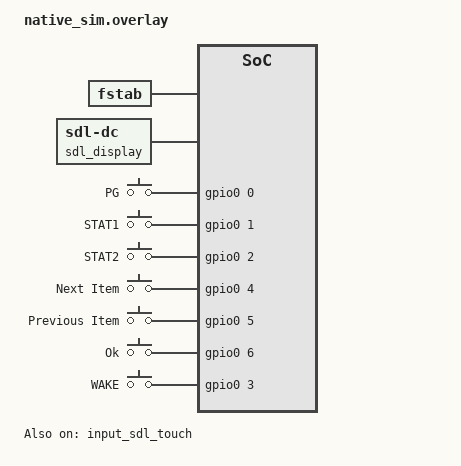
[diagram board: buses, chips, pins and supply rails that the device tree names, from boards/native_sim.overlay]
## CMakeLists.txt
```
cmake_minimum_required(VERSION 3.20.0)
find_package(Zephyr REQUIRED HINTS $ENV{ZEPHYR_BASE})
project(smartwatch_v1)
set(CMAKE_EXPORT_COMPILE_COMMANDS ON)

FILE(GLOB root_sources src/*.c)
message(STATUS root_sources : ${root_sources})

include_directories(${CMAKE_SOURCE_DIR}/src)
add_subdirectory(src/ui)
add_subdirectory(src/applications)
add_subdirectory(src/managers)
add_subdirectory(src/threads)
add_subdirectory(src/HAL)
add_subdirectory(src/BLE)
add_subdirectory(src/runtime_management)

target_sources(app PRIVATE ${root_sources})
```

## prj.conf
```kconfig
# sets up displays
CONFIG_DISPLAY=y
CONFIG_INPUT=y
CONFIG_INPUT_LONGPRESS=y
CONFIG_MAIN_STACK_SIZE=4096

#GPIO
CONFIG_GPIO=y

#Logging
CONFIG_LOG=y
CONFIG_LOG_DEFAULT_LEVEL=3

#Power Management
#CONFIG_PM=y
#CONFIG_PM_DEVICE=y
#CONFIG_PM_DEVICE_RUNTIME=y

#Shell
#CONFIG_SHELL=y
#CONFIG_LV_Z_SHELL=y
#CONFIG_KERNEL_SHELL=y
#CONFIG_SYS_HEAP_RUNTIME_STATS=y

# LVGL configuration

CONFIG_LVGL=y
CONFIG_LV_Z_VDB_SIZE=50
CONFIG_LV_Z_FULL_REFRESH=n
CONFIG_LV_Z_DOUBLE_VDB=y
CONFIG_LV_Z_BITS_PER_PIXEL=16
CONFIG_LV_Z_FLUSH_THREAD=n
CONFIG_LV_FONT_MONTSERRAT_10=y
CONFIG_LV_FONT_MONTSERRAT_14=y
CONFIG_LV_FONT_MONTSERRAT_24=y
CONFIG_LV_USE_GRIDNAV=y
CONFIG_LV_Z_MEM_POOL_SIZE=32768

#BLE
CONFIG_BT=y
#CONFIG_BT_SMP=y
CONFIG_BT_PERIPHERAL=y
CONFIG_BT_GATT_CLIENT=y
CONFIG_BT_DEVICE_NAME="MIN_WATCH"
CONFIG_BT_L2CAP_TX_MTU=247
CONFIG_BT_BUF_ACL_RX_SIZE=251
# BLE buffers
CONFIG_BT_L2CAP_TX_BUF_COUNT=10
CONFIG_BT_BUF_ACL_RX_COUNT_EXTRA=10
#CONFIG_BT_SMP_SC_ONLY=n
#CONFIG_BT_SMP_APP_PAIRING_ACCEPT=n
#CONFIG_BT_APP_PASSKEY=y
#CONFIG_BT_SETTINGS=y

# File System Support
#CONFIG_FILE_SYSTEM=y
#CONFIG_FILE_SYSTEM_LITTLEFS=y
CONFIG_FLASH=y
CONFIG_FLASH_MAP=y
CONFIG_FILE_SYSTEM=y
CONFIG_FILE_SYSTEM_LITTLEFS=y

#LIBC
CONFIG_PICOLIBC=y
CONFIG_COMMON_LIBC_MALLOC_ARENA_SIZE=2048
```

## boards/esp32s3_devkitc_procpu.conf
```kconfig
CONFIG_ST7735R=y
CONFIG_LV_USE_ST7735=y

CONFIG_LV_COLOR_16_SWAP=y
CONFIG_INPUT_GPIO_QDEC=y

CONFIG_SERIAL=y
CONFIG_CONSOLE=y
CONFIG_UART_CONSOLE=y
CONFIG_USB_DEVICE_STACK=n
CONFIG_USB_CDC_ACM=n

CONFIG_BOOTLOADER_MCUBOOT=y
CONFIG_MCUBOOT_GENERATE_UNSIGNED_IMAGE=y
CONFIG_BOOT_BANNER=y

CONFIG_ESPTOOLPY_FLASHMODE_DIO=y
CONFIG_ESPTOOLPY_FLASHMODE_QIO=n

CONFIG_ESPTOOLPY_FLASHFREQ_40M=y
CONFIG_ESPTOOLPY_FLASHFREQ_80M=n

CONFIG_LOG=y
CONFIG_LOG_DEFAULT_LEVEL=3
CONFIG_EXCEPTION_STACK_TRACE=y
```

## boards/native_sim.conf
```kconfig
CONFIG_SRAM_SIZE=520

# Core SDL and Graphics Support
CONFIG_SDL_DISPLAY=y
CONFIG_INPUT_SDL_TOUCH=y

# Input Support
CONFIG_GPIO_EMUL=y
CONFIG_GPIO_EMUL_SDL=y

CONFIG_FLASH_SIMULATOR=y

CONFIG_THREAD_NAME=y
CONFIG_THREAD_RUNTIME_STATS=y

# Enable the full analyzer and command it to print itself
CONFIG_THREAD_ANALYZER=y
CONFIG_THREAD_ANALYZER_USE_LOG=y
CONFIG_THREAD_ANALYZER_AUTO=y
CONFIG_THREAD_ANALYZER_AUTO_INTERVAL=5
```

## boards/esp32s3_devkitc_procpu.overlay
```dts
#include <zephyr/dt-bindings/input/input-event-codes.h>
#include <zephyr/dt-bindings/lvgl/lvgl.h>
#include <zephyr/dt-bindings/gpio/gpio.h>
#include <zephyr/dt-bindings/mipi_dbi/mipi_dbi.h>

/ {
    chosen {
        zephyr,display = &st7735r_display;
        zephyr,console = &uart0;
        zephyr,shell-uart = &uart0;
    };

    /* System Status Inputs */
    gpio_pins: gpio_pins {
        compatible = "gpio-keys";

        gpio_pg: gpio_pg {
            status = "disabled";
            gpios = <&gpio0 40 (GPIO_PULL_UP | GPIO_ACTIVE_LOW)>;
            label = "PG";
            zephyr,code = <INPUT_KEY_0>;
        };
 
        gpio_wakeup: gpio_wakeup {
            status = "disabled";
            gpios = <&gpio0 41 (GPIO_PULL_UP | GPIO_ACTIVE_LOW)>;
            label = "WAKEUP";
            zephyr,code = <INPUT_KEY_1>;
        };

        gpio_lbo: gpio_lbo {
            status = "disabled";
            gpios = <&gpio0 42 (GPIO_PULL_UP | GPIO_ACTIVE_LOW)>;
            label = "LBO";
            zephyr,code = <INPUT_KEY_2>;
        };
        
        key_ok: key_ok {
            status = "okay";
            gpios = <&gpio0 5 (GPIO_PULL_UP | GPIO_ACTIVE_LOW)>;
            label = "Encoder Switch";
            zephyr,code = <INPUT_KEY_4>;
        };
    };

    key_back: key_back {
        compatible = "zephyr,input-longpress";
        input = <&gpio_pins>;
        input-codes = <INPUT_KEY_4>; 
        short-codes = <INPUT_KEY_ENTER>;
        long-codes = <INPUT_KEY_ESC>;
        long-delay-ms = <500>;
    };

    encoder: encoder {
        status = "okay";
        compatible = "gpio-qdec";
        /* A and B GPIOs */
        gpios = <&gpio0 4 (GPIO_PULL_UP | GPIO_ACTIVE_LOW)>, 
                <&gpio0 6 (GPIO_PULL_UP | GPIO_ACTIVE_LOW)>;
        steps-per-period = <4>;
        zephyr,axis = <INPUT_REL_WHEEL>;
        sample-time-us = <2000>;
        idle-timeout-ms = <200>;
    };

    /* DBI Bridge: Connects SPI to the Display Driver */
    mipi_dbi_st7735r: mipi_dbi_st7735r {
        compatible = "zephyr,mipi-dbi-spi";
        spi-dev = <&spi2>;
        dc-gpios = <&gpio0 10 GPIO_ACTIVE_HIGH>;
        reset-gpios = <&gpio0 9 GPIO_ACTIVE_LOW>;
        #address-cells = <1>;
        #size-cells = <0>;

        st7735r_display: st7735r@0 {
            compatible = "sitronix,st7735r";
            reg = <0>;
            mipi-max-frequency = <16000000>;
            mipi-mode = "MIPI_DBI_MODE_SPI_4WIRE";
            width = <128>;
            height = <160>;
            x-offset = <0>;
            y-offset = <0>;
            
            colmod = <0x05>;
            madctl = <0xC8>;
            pwctr1 = [a2 02 84];
            pwctr2 = [c5];
            pwctr3 = [0a 00];
            pwctr4 = [8a 2a];
            pwctr5 = [8a ee];
            frmctr1 = [01 2c 2d];
            frmctr2 = [01 2c 2d];
            frmctr3 = [01 2c 2d 01 2c 2d];
            gamctrp1 = [02 1c 07 12 37 32 29 2d 29 25 2b 39 00 01 03 10];
            gamctrn1 = [03 1d 07 06 2e 2c 29 2d 2e 2e 37 3f 00 00 02 10];
        };
    };
};

/* SPI Bus for ST7735R */
&spi2 {
    status = "okay";
    pinctrl-0 = <&spim2_default>;
    pinctrl-names = "default";
    cs-gpios = <&gpio0 13 GPIO_ACTIVE_LOW>; 
};

&pinctrl {
    spim2_default: spim2_default {
        group1 {
            pinmux = <SPIM2_MOSI_GPIO11>,
                     <SPIM2_SCLK_GPIO12>;
        };
    };
};

&usb_serial {
    status = "okay";
};
```

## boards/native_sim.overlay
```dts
#include <zephyr/dt-bindings/input/input-event-codes.h>
#include <zephyr/dt-bindings/lvgl/lvgl.h>

/ {
    chosen {
        zephyr,display = &sdl_display;
    };

    fstab {
        compatible = "zephyr,fstab";
        lfs1: lfs1 {
            compatible = "zephyr,fstab,littlefs";
            mount-point = "/lfs";
            partition = <&storage_partition>;
            automount;
            read-size = <16>;
            prog-size = <16>;
            cache-size = <64>;
            lookahead-size = <32>;
            block-cycles = <512>;
        };
    };

    sdl_display: sdl_display {
        compatible = "zephyr,sdl-dc";
        width = <128>;
        height = <160>;
    };

    /* Application-level gpio pin definitions */
    gpio_pins: gpio_pins {
        compatible = "gpio-keys";
        gpio_pg: gpio_pg {
            gpios = <&gpio0 0 GPIO_ACTIVE_HIGH>;
            label = "PG";
            zephyr,code = <INPUT_KEY_0>;
        };
        gpio_stat1: gpio_stat1 {
            gpios = <&gpio0 1 GPIO_ACTIVE_HIGH>;
            label = "STAT1";
            zephyr,code = <INPUT_KEY_1>;
        };
        gpio_stat2: gpio_stat2 {
            gpios = <&gpio0 2 GPIO_ACTIVE_HIGH>;
            label = "STAT2";
            zephyr,code = <INPUT_KEY_2>;
        };
        key_prev: key_prev {
            gpios = <&gpio0 4  GPIO_ACTIVE_HIGH>;
            label = "Next Item";
            zephyr,code = <INPUT_KEY_LEFT>; 
        };
        key_next: key_next {
            gpios = <&gpio0 5  GPIO_ACTIVE_HIGH>;
            label = "Previous Item";
            zephyr,code = <INPUT_KEY_RIGHT>;
        };
        key_ok: key_ok {
            gpios = <&gpio0 6 GPIO_ACTIVE_HIGH>;
            label = "Ok";
            zephyr,code = <INPUT_KEY_4>;
        };
    };

    
    key_back: key_back {
        compatible = "zephyr,input-longpress";
        input = <&gpio_pins>;
        input-codes = <INPUT_KEY_4>; 
        short-codes = <INPUT_KEY_ENTER>;
        long-codes = <INPUT_KEY_ESC>;
        long-delay-ms = <500>;
    };
    
    switches: switches {
        compatible = "gpio-keys";
        debounce-interval-ms = <200>;
        gpio_wakeup: gpio_wakeup {
            gpios = <&gpio0 3 GPIO_ACTIVE_HIGH>;
            label = "WAKE";
            zephyr,code = <INPUT_KEY_3>;
        };
    };

};

&gpio0 {
    status="okay";
    ngpios = <32>;
    /*SDL Mapping as a child of the emulated controller */
    sdl_gpio {
        compatible = "zephyr,gpio-emul-sdl";
        scancodes = <30 31 32 33 34 35 36 37>;
    };
};

&flash0 {
    reg = <0x00000000 DT_SIZE_M(4)>;
    partitions {
        /delete-node/ partition@0;
        /delete-node/ partition@c000;
        /delete-node/ partition@75000;
        /delete-node/ partition@de000;
        /delete-node/ partition@fc000;
        compatible = "fixed-partitions";
        #address-cells = <1>;
        #size-cells = <1>;

        slot0_partition: partition@0 {
            label = "image-0";
            reg = <0x00000000 DT_SIZE_M(2)>;
        };
        
        image_partition: partition@200000 {
            label = "image-1";
            reg = <0x00200000 DT_SIZE_K(1968)>;
        };

        storage_partition: partition@3EC000 {
            label = "storage_partition";
            reg = <0x003EC000 DT_SIZE_K(512)>;
        };
    };
};

&input_sdl_touch {
    status = "okay";
    display = <&sdl_display>;
};
```

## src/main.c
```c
/**
 * @mainpage A smartwatch firmware inspired by ZSWatch
 *
 * @section intro Introduction
 * Smartwatch firmware using Zephyr RTOS, ultimate goal
 * of acheiving a working feature rich smartwatch
 * 
**/  

#include <zephyr/kernel.h>
#include <zephyr/logging/log.h>
#include "managers/ui_manager.h"
#include "managers/gpio_manager.h"
#include "managers/ble_manager.h"
#include "managers/input_dev_manager.h"
#include "managers/pm_manager.h"
#include "managers/event_manager.h"
#include "managers/persistance_manager.h"
#include "managers/runtime_manager.h"
#include "managers/timers.h"
#include "managers/storage_manager.h"
#include "managers/notification_manager.h"

LOG_MODULE_REGISTER(app, LOG_LEVEL_INF);

/**
 * @brief Init work on startup
 */
void do_init_work() {
    init_persistance();
    init_gpio_pins();
    init_ble();
    setup_keyboard();
    runtime_manager_init();
    notification_init();    
    init_ui();
    init_pm();
    init_events();
}

int main(void)
{
    do_init_work();
    start_specific_timer(WORK_WINDOW_START);
    write_file();
    return 0;
}
```

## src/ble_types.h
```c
#ifndef BLE_TYPES_HEADER_H
#define BLE_TYPES_HEADER_H 

#include "common_types.h" 

#define MAX_BLE_PAYLOAD_SIZE 256
#define BLE_FIFO_SIZE 20

#define BLE_MAGIC 0xA5
#define BLE_HDR_SIZE 3

#define BT_UUID_SMARTWATCH_SERVICE_VAL \
    BT_UUID_128_ENCODE(0x12345678, 0x1234, 0x5678, 0x1234, 0x56789abcdef0)

#define BT_UUID_RX_CHRC_VAL \
    BT_UUID_128_ENCODE(0x87654321, 0x4321, 0x8765, 0x4321, 0x876543210987)

#define BT_UUID_TX_CHRC_VAL \
    BT_UUID_128_ENCODE(0x87654321, 0x4321, 0x8765, 0x4321, 0x876543210988)

typedef uint8_t ble_opcode_t;

#define BLE_OP_TIME_UPDATE ((ble_opcode_t)0x01)
#define BLE_OP_WEATHER_UPDATE ((ble_opcode_t)0x02)
#define BLE_OP_DATED_WEATHER_QUERY ((ble_opcode_t)0x03)
#define BLE_OP_NOTIFICATION_SEND ((ble_opcode_t)0x04)

typedef enum {
    BLE_TX,
    BLE_RX
} ble_comm_type_t;

typedef enum {
    RX_WAIT_MAGIC,
    RX_READ_HEADER,
    RX_READ_PAYLOAD
} rx_state_t;

typedef struct {
    ble_opcode_t opcode;
    uint8_t req_app;
    uint8_t len;
} ble_msg_hdr_t;

/**
 * @brief Struct for populating the command and resopnses 
 * for BLE transmission. This is used only to maintain
 * track of requests and responses not for actual transmission
 * The Characteristic read callback will generate the actual
 * lean packet for each connection window
 */
typedef struct {
    ble_msg_hdr_t hdr;
    uint8_t payload[MAX_BLE_PAYLOAD_SIZE];
} ble_msg_t;

typedef enum {
    UPDATE_SYSTEM_TIME,
    UPDATE_SYSTEM_WEATHER,
    DATED_WEATHER_QUERY,
} ble_req_type_t;


typedef struct ble_req {
    ble_req_type_t req_code;
    uint16_t req_data_len;
    uint8_t *req_data;
} ble_req_t; 

#endif
```

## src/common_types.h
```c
#ifndef COMMON_TYPES_H
#define COMMON_TYPES_H

#include <lvgl.h>
#include "event_types.h"

#define MAX_APP_RESPONSE_SIZE 256
#define MAX_WATCHFACES 10
#define WATCHFACE_PRIORITY 10
#define MAX_APPS 15


static const uint8_t APP_PRIORITY = 11;
static const uint32_t MAX_USER_INPUT_TIMEOUT = 5000;

/**
 * @brief Various diff timer types
 */
typedef enum {
    WF_1S_TIMER,
    WORK_WINDOW_START
} mw_timer_t;

typedef enum {
    WHATSAPP,
    MESSAGE,
    NAVIGATION,
    CALL,
    UNKNOWN
} phone_app_t;

typedef struct {
    phone_app_t app;
    char app_name[14];
    char body[100];
    char action_name[15];
    char dismiss_text[15];
    void (*action_handler)();
    void (*dismiss_handler)(unsigned int);
} notification_t;

typedef enum {
    DATED_WEATHER_REQUEST
} app_ble_req_t;

typedef struct {
    app_ble_req_t req;
    uint8_t req_app;
    uint8_t data[MAX_APP_RESPONSE_SIZE];
} app_update_t;

/**
 * @brief Type to store date related info
 */
typedef struct {
    uint8_t day;
    uint8_t month;
    uint16_t year;
    uint8_t hr;
    uint8_t min;
    uint8_t sec;
    uint8_t d_week;
} date_time_t;

typedef struct {
    uint32_t last_sync_time;
    uint32_t time_sync_uptime;
    uint8_t valid;
} time_sync_t;


typedef struct {
    int16_t temperature; // Scaled by 10      
    uint8_t humidity;          
    uint8_t precip_prob;       
    uint8_t weather_code;      
    uint8_t wind_speed;        
} hourly_weather_t;

typedef struct {
    uint32_t expires_at;                 
    hourly_weather_t hourly_today[24];   
} weather_sync_t;

typedef struct {
    time_sync_t time_state;
    weather_sync_t weather_state;
} watch_state_t;

typedef struct {
    uint8_t app_id;
    uint16_t events_perms;
    const char *name;
    const lv_image_dsc_t *ico;
    void (*draw_app) (lv_obj_t *);
    void (*close_app) ();
    void (*refresh_app) ();
    void (*handle_event) (app_update_t*);
} application_t;

/**
 * @brief Watchface data structure
 * which each watchface needs to register with
 */
typedef struct {
    uint8_t wf_id;
    uint16_t wf_perms;
    /**
     * @brief Name of watchface
     */
    const char *name;
    /**
     * @brief function pointer to draw wf
     *
     * @param root lvgl object
     */
    void (*draw_watchface) (lv_obj_t*);
    /**
     * @brief function pointer to refresh watchface
     *
     * @param event for which update is called  
     */
    void (*update_watchface) (event_t*);
    /**
     * @brief Delete the current watchface
     *
     * @param root lvgl object
     */
    void (*del_watchface) (lv_obj_t*); 
} watchface_t;

#endif
```

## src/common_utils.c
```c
#include <time.h>
#include "common_types.h"
#include "common_utils.h"
#include "managers/persistance_manager.h"
#include "zephyr/logging/log.h"
#include "managers/ui_manager.h"
#include "managers/app_manager.h"
#include "managers/input_dev_manager.h"
#include "managers/event_manager.h"

LOG_MODULE_REGISTER(COMMON_UTILS, LOG_LEVEL_INF);

uint8_t generate_curr_app_id() {
    ui_state_t ui_state = get_current_ui_state();
    switch(ui_state) {
        case WATCHFACE :
            if(get_selected_wf() == NULL) 
                return 0; 
            return get_selected_wf()->wf_id + 1;
        case APP : 
            return MAX_WATCHFACES + 1 + get_curr_app()->app_id;
        default :
            return 0;
    }
}

void get_date_time(date_time_t* time) {
    const time_sync_t time_state = get_curr_time_state();    
    if(time_state.valid) {
        struct tm curr_time;
        time_t time_val = (time_t) (time_state.last_sync_time + 
                                    (k_uptime_get()/1000) -  
                                    time_state.time_sync_uptime);
        if (gmtime_r(&time_val, &curr_time) != NULL) {
            LOG_DBG("Updating time to : %d-%02d-%02d : %02d:%02d:%02d",
                                        curr_time.tm_year + 1900,
                                        curr_time.tm_mon + 1,
                                        curr_time.tm_mday, curr_time.tm_hour,
                                        curr_time.tm_min, curr_time.tm_sec);
           
            time->day = curr_time.tm_mday;
            time->month = curr_time.tm_mon + 1;
            time->year = curr_time.tm_year + 1900;
            time->hr = curr_time.tm_hour;
            time->min = curr_time.tm_min;
            time->sec = curr_time.tm_sec; 
            time->d_week = curr_time.tm_wday;    
        }
    }
    else {
        time->day = 1;
        time->month = 1;
        time->year = 1900;
        time->hr = 0;
        time->min = 0;
        time->sec = 0;
        time->d_week = 0;    
    }
}

void get_curr_weather(hourly_weather_t* curr_weather) {
    const weather_sync_t *weather = get_curr_weather_state();
    date_time_t curr_time;
    get_date_time(&curr_time);
    if(curr_time.hr >= 24 || curr_time.hr < 0) {
        LOG_ERR("Invalid current time");
        return;
    }
    LOG_DBG("Current temp : %02d", weather->hourly_today[curr_time.hr].temperature/10);
    memcpy(curr_weather, &weather->hourly_today[curr_time.hr], sizeof(hourly_weather_t));
}

void get_weather_day(hourly_weather_t* day_weather) {
    const weather_sync_t *weather = get_curr_weather_state();
    memcpy(day_weather, weather->hourly_today, sizeof(hourly_weather_t)*24);
}


void remove_shadow_and_outline(lv_obj_t* obj) {
    lv_obj_set_style_border_width(obj, 0, LV_PART_MAIN);
    lv_obj_set_style_shadow_width(obj, 0,LV_PART_MAIN);
    lv_obj_set_style_pad_row(obj, 0, LV_PART_MAIN);
    lv_obj_set_style_pad_column(obj, 0, LV_PART_MAIN);
    lv_obj_set_style_pad_ver(obj, 0, LV_PART_MAIN);
    lv_obj_set_style_pad_hor(obj, 0, LV_PART_MAIN);
    lv_obj_set_style_radius(obj, 0, 0);
}

void make_obj_navigable(lv_obj_t* obj) {
    if(get_current_group() == NULL) {
        LOG_ERR("Custom group not added");
        return;
    }
    lv_group_add_obj(get_current_group(), obj);
    lv_obj_add_flag(obj, LV_OBJ_FLAG_EVENT_BUBBLE);
}

void request_ble_resource(app_ble_req_t req, void* data) {
    if(req == DATED_WEATHER_REQUEST) {
        date_time_t* req_date = (date_time_t*) data;
        uint8_t payload[4] = { 0xFF & req_date->day,
                               0xFF & req_date->month,
                               0xFF & (req_date->year >> 8),
                               0XFF & (req_date->year) };
        ble_req_t ble_req = {
            .req_code = DATED_WEATHER_QUERY,
            .req_data_len = sizeof(payload),
            .req_data = payload,
        };
        // Need to update BLE module to memcpy the payload
        request_ble_action(&ble_req);      
    }
}
```

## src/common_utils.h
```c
#ifndef COMMON_UTILS_H
#define COMMON_UTILS_H

#include "common_types.h"
#include <lvgl.h>

void get_date_time(date_time_t*);
void get_curr_weather(hourly_weather_t*);
uint8_t generate_curr_app_id();
void get_weather_day(hourly_weather_t*);
void make_obj_navigable(lv_obj_t*);
void remove_shadow_and_outline(lv_obj_t*);
void request_ble_resource(app_ble_req_t, void *);

#endif
```

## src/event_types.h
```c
#ifndef EVENTS_H
#define EVENTS_H

typedef enum {
    EVENT_TICK_UPDATE,
    EVENT_WORK_TICK,
    EVENT_APP_WORK_SCHEDULE,
    EVENT_NOTIFICATION_RECEIVED
} event_id_t;

typedef struct {
    event_id_t ev;
    uint32_t payload_len;
    void* data;
} event_t;

#endif
```

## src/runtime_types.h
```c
#ifndef RUNTIME_TYPES_H
#define RUNTIME_TYPES_H

#include <zephyr/kernel.h>

#define WORKER_POOL_SIZE          10  
#define WORKER_STACK_SIZE         2048  
#define BASELINE_PRIORITY         11  

#define TIMEOUT_USER_APP_SOFT_MS  30
#define TIMEOUT_USER_APP_HARD_MS  10
#define WINDOW_BACKGROUND_MAX_MS  160  
#define WINDOW_GRACE_PERIOD_MS    700   
#define WINDOW_UI_MAX_MS          300   

#define MAX_WORKER_ARG_PAYLOAD    264

#define MAX_CURFEW_HOOKS          4

typedef enum {
    WORK_TYPE_SYSTEM,
    WORK_TYPE_USER
} runtime_work_type_t;

typedef enum {
    STATE_SLEEP,
    STATE_BACKGROUND_ACTIVE,
    STATE_GRACE_PERIOD,
    STATE_UI_ACTIVE
} runtime_state_t;

struct runtime_work_item {
    runtime_work_type_t type; /* EXPLICIT FIX: Structural separation of workload categories */
    int priority;           
    void (*handler)(void *arg1, atomic_t *abort_flag);    
    void *arg1;  
    uint8_t arg_payload[MAX_WORKER_ARG_PAYLOAD];    
};

typedef void (*curfew_hook_t)(void);

#endif /* RUNTIME_TYPES_H */
```

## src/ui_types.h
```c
#ifndef UI_TYPES_H
#define UI_TYPES_H

#include <lvgl.h>
#include "common_types.h"

/**
 * @brief Type to describe current watch page 
 */
typedef enum UI_STATE {
    /**
     * @brief stores start of the enum for page switching
     */
    _START,
    /**
     * @brief Watchface UI
     */
    NOTIFY,
    WATCHFACE,
    /**
     * @brief Application page
     */
    APP,
    /**
     * @brief Keep track of end of pages
     */
    _END
} ui_state_t;

typedef enum DISPLAY_STATE {
    /**
     * @brief Display not initialized
     */
    DIS_INVALID,
    /**
     * @brief Display turned off
     */
    OFF,
    /**
     * @brief Display turned on
     */
    ON
} display_state_t;

typedef struct {
    date_time_t time;
    hourly_weather_t weather;
} wf_update_payload_t;

#endif
```
